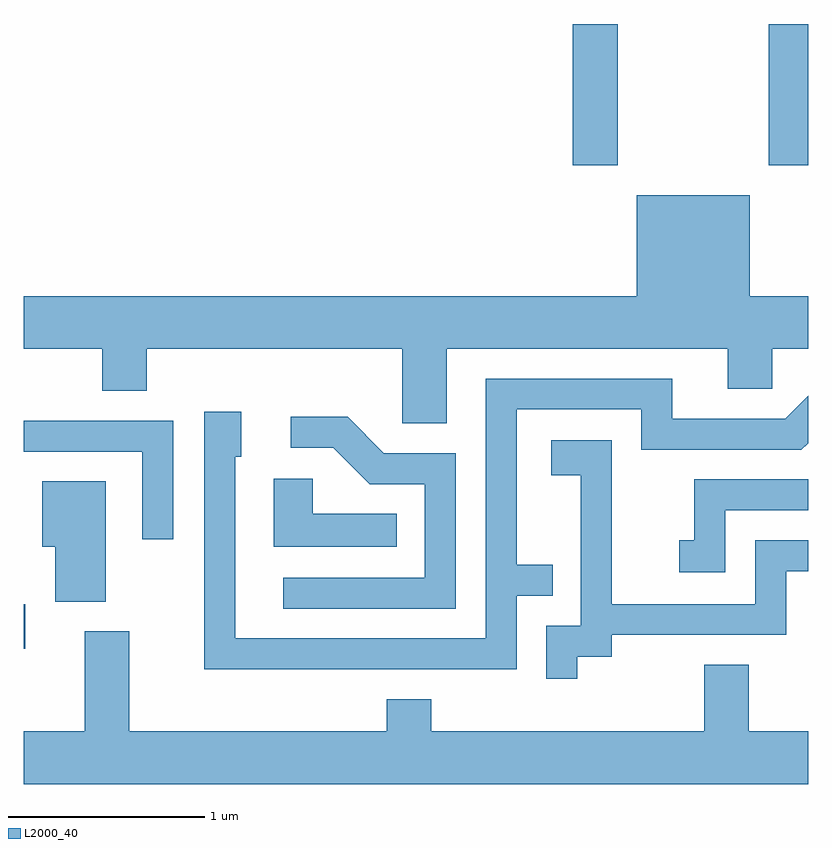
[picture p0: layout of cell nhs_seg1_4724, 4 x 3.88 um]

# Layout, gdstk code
import gdstk
lib = gdstk.Library(unit=1e-6, precision=1e-09)
def R(c, l, rs):  # rectangles x0, y0, x1, y1
    for r in rs: c.add(gdstk.rectangle(r[:2], r[2:], *l))
def P(c, l, *ps):  # polygons
    for p in ps: c.add(gdstk.Polygon(p, *l))
L2000_40 = (2000, 40)

nhs_seg1_4724 = lib.new_cell('nhs_seg1_4724')
R(nhs_seg1_4724, L2000_40, [(327.611,862.526,327.619,862.754), (330.411,864.991,330.639,865.712), (331.411,864.991,331.611,865.712)])
P(nhs_seg1_4724, L2000_40, [(329.769,864.056),(331.201,864.056),(331.201,863.851),(331.429,863.851),(331.429,864.056),(331.611,864.056),(331.611,864.324),(331.314,864.324),(331.314,864.839),(330.736,864.839),(330.736,864.324),(327.611,864.324),(327.611,864.056),(328.011,864.056),(328.011,863.841),(328.239,863.841),(328.239,864.056),(329.541,864.056),(329.541,863.676),(329.769,863.676)],
  [(330.124,862.796),(330.308,862.796),(330.308,862.954),(330.124,862.954),(330.124,863.746),(330.761,863.746),(330.761,863.541),(331.577,863.541),(331.611,863.575),(331.611,863.816),(331.494,863.699),(330.919,863.699),(330.919,863.904),(329.966,863.904),(329.966,862.579),(328.689,862.579),(328.689,863.506),(328.719,863.506),(328.719,863.734),(328.531,863.734),(328.531,862.421),(330.124,862.421)],
  [(329.814,863.524),(329.447,863.524),(329.262,863.709),(328.973,863.709),(328.973,863.551),(329.189,863.551),(329.374,863.366),(329.656,863.366),(329.656,862.889),(328.933,862.889),(328.933,862.731),(329.814,862.731)],
  [(328.374,863.689),(327.611,863.689),(327.611,863.531),(328.216,863.531),(328.216,863.083),(328.374,863.083)],
  [(330.434,862.486),(330.609,862.486),(330.609,862.596),(331.499,862.596),(331.499,862.921),(331.611,862.921),(331.611,863.079),(331.341,863.079),(331.341,862.754),(330.609,862.754),(330.609,863.589),(330.301,863.589),(330.301,863.411),(330.451,863.411),(330.451,862.644),(330.276,862.644),(330.276,862.373),(330.434,862.373)],
  [(329.513,863.214),(329.084,863.214),(329.084,863.394),(328.886,863.394),(328.886,863.046),(329.513,863.046)],
  [(331.189,863.231),(331.611,863.231),(331.611,863.389),(331.031,863.389),(331.031,863.079),(330.953,863.079),(330.953,862.916),(331.189,862.916)],
  [(328.029,863.379),(327.706,863.379),(327.706,863.046),(327.771,863.046),(327.771,862.766),(328.029,862.766)],
  [(331.611,862.104),(331.309,862.104),(331.309,862.444),(331.081,862.444),(331.081,862.104),(329.689,862.104),(329.689,862.269),(329.461,862.269),(329.461,862.104),(328.149,862.104),(328.149,862.614),(327.921,862.614),(327.921,862.104),(327.611,862.104),(327.611,861.836),(331.611,861.836)])

lib.write_gds('nhs_seg1_4724.gds')
